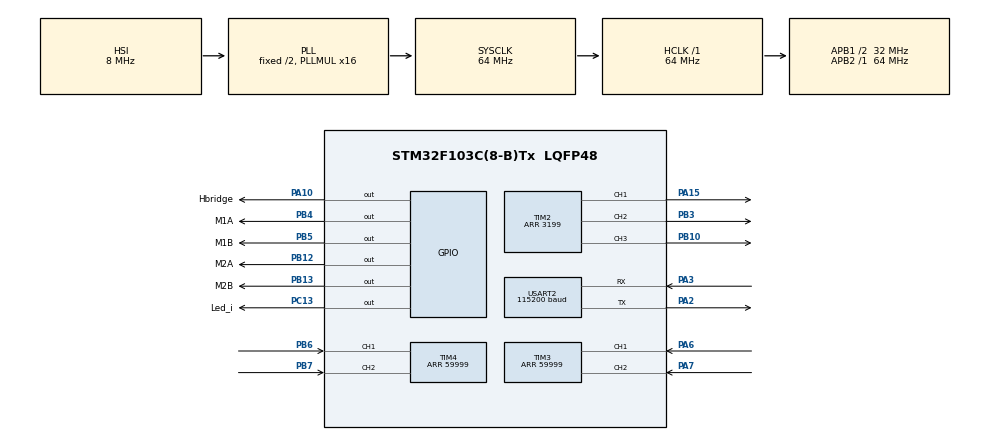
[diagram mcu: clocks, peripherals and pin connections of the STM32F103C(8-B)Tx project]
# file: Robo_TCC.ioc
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Mcu.Family=STM32F1
Mcu.Name=STM32F103C(8-B)Tx
Mcu.Package=LQFP48
NVIC.PriorityGroup=NVIC_PRIORITYGROUP_4
NVIC.TIM2_IRQn=true\:0\:0\:false\:false\:true\:true\:true
NVIC.USART2_IRQn=true\:0\:0\:false\:false\:true\:true\:true
PA10.GPIO_Label=Hbridge
PA10.Signal=GPIO_Output
PA13.Mode=Serial_Wire
PA13.Signal=SYS_JTMS-SWDIO
PA14.Mode=Serial_Wire
PA14.Signal=SYS_JTCK-SWCLK
PA15.Signal=S_TIM2_CH1_ETR
PA2.Mode=Asynchronous
PA2.Signal=USART2_TX
PA3.Mode=Asynchronous
PA3.Signal=USART2_RX
PA6.Signal=S_TIM3_CH1
PA7.Signal=S_TIM3_CH2
PB10.Signal=S_TIM2_CH3
PB12.GPIO_Label=M2A
PB12.Signal=GPIO_Output
PB13.GPIO_Label=M2B
PB13.Signal=GPIO_Output
PB3.Signal=S_TIM2_CH2
PB4.GPIO_Label=M1A
PB4.Signal=GPIO_Output
PB5.GPIO_Label=M1B
PB5.Signal=GPIO_Output
PB6.Signal=S_TIM4_CH1
PB7.Signal=S_TIM4_CH2
PC13-TAMPER-RTC.GPIO_Label=Led_i
PC13-TAMPER-RTC.Signal=GPIO_Output
ProjectManager.HeapSize=0x200
ProjectManager.StackSize=0x400
ProjectManager.TargetToolchain=STM32CubeIDE
RCC.AHBFreq_Value=64000000
RCC.APB1CLKDivider=RCC_HCLK_DIV2
RCC.APB1Freq_Value=32000000
RCC.APB1TimFreq_Value=64000000
RCC.APB2Freq_Value=64000000
RCC.APB2TimFreq_Value=64000000
RCC.HCLKFreq_Value=64000000
RCC.PLLMUL=RCC_PLL_MUL16
RCC.SYSCLKFreq_VALUE=64000000
RCC.SYSCLKSource=RCC_SYSCLKSOURCE_PLLCLK
RCC.USBFreq_Value=64000000
SH.S_TIM2_CH1_ETR.0=TIM2_CH1,PWM Generation1 CH1
SH.S_TIM2_CH2.0=TIM2_CH2,PWM Generation2 CH2
SH.S_TIM2_CH3.0=TIM2_CH3,PWM Generation3 CH3
SH.S_TIM3_CH1.0=TIM3_CH1,Encoder_Interface
SH.S_TIM3_CH2.0=TIM3_CH2,Encoder_Interface
SH.S_TIM4_CH1.0=TIM4_CH1,Encoder_Interface
SH.S_TIM4_CH2.0=TIM4_CH2,Encoder_Interface
TIM2.Channel-PWM\ Generation1\ CH1=TIM_CHANNEL_1
TIM2.Channel-PWM\ Generation2\ CH2=TIM_CHANNEL_2
TIM2.Channel-PWM\ Generation3\ CH3=TIM_CHANNEL_3
TIM2.OC1Preload_PWM=DISABLE
TIM2.OC2Preload_PWM=DISABLE
TIM2.Period=3199
TIM3.Period=59999
TIM4.Period=59999
USART2.BaudRate=115200
USART2.VirtualMode=VM_ASYNC
VP_TIM2_VS_ClockSourceINT.Mode=Internal
board=custom

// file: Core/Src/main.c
/* USER CODE BEGIN Header */
/**
 ******************************************************************************
 * Arquivo           : main.c
 *
 * Descrição         : Código do microcontrolador ARM para os robôs VSSS da
 * 					Equipe Red Dragons UFSCar. Desenvolvido por Matheus
 * 					Sousa Soares em 2020.
 *
 * 					Para contato: matheussousasf@gmail.com ou
 * 								  matheussousa@df.ufscar.br
 * 								  (31) 975340460
 *
 ******************************************************************************
 ******************************************************************************
 *
 * Organizar código com comentários e com um mini interface no começo
 *
 *
 ******************************************************************************
 ******************************************************************************
 * Código desenvolvido na CUBE IDE 1.7.0
 *
 * Lista de funções desempenhadas:
 * Comunicação UART por interrupção com módulo Xbee
 * Leitura e interpretação da mensagem recebida
 * Geração de PWM para motores
 * Leitura dos Encoders
 * Controle da velocidade dos motores com PWM gerado
 * Modo de ajuste do controlador
 *
 * ****************************************************************************
 * Como utilizar:
 *
 * Editar nas partes com "USER CODE" o resto do código é gerado automaticamente
 * pela parte de configuração do microcontrolador na IDE (arquivo .ioc).
 *
 * Organize e comente as suas funções e códigos adequadamente para facilitar
 * para os membros futuros da equipe. Utilize o Git para atualizar o código.
 *
 * Modo de Controle:
 * 	Ativar a variável "medir_vel" = 1
 *
 * 	Para medir a velocidade sem controlador:
 * 		Ativar a variável "desl_controlador" = 1
 * 		Sertar PWM do teste na variável "PWM_test"
 * 		O robô então vai se mover com a tensão nos motores correspondente ao PWM setado
 * 		Depois de medir a velocidade por uma quantidade de pontos igual a "vetor_dados"
 * 		O robô vai parar e enviar os dados pelo módulo de rádio.
 *
 * 	Para medir a velocidade com o controlador:
 * 		Desativar a variável "desl_controlador" = 0
 * 		Setar a velocidade alvo de cada controlador nas variáveis "w_targetM1" e "w_targetM12"
 * 			Essa velocidade está em rad/s
 * 		Depois de medir a velocidade por uma quantidade de pontos igual a "vetor_dados"
 * 		O robô vai parar e enviar os dados pelo módulo de rádio.
 *
 * Modo de jogo:
 * 	Desativar a variável "medir_vel" = 0
 * 	O robô vai aguradar uma menságem para definir o setpoint do controlar
 *
 *		OBS: O tempo de loop do controlador e da medição dos dados foi definido em 10ms por
 *			conta da resolução dos encoders.
 *
 * ***************************************************************************
 * Partes do código
 * USER CODE Header: Comentários de introdução
 * USER CODE Includes: Bibliotecas do usuário
 * USER CODE PV: Vazio
 * USER CODE 0: Declaração de variáveis
 * USER CODE 1: Variáveis da equação de controle e
 * USER CODE SysInit: Vazio
 * USER CODE 2: Inicialização do sistema
 * USER CODE WHILE: Loop de programa
 * USER CODE 3: Vazio
 * USER CODE 4: Funções de interrupção e timers
 *
 * Preencher aqui conforme o código for atualizado, por favor.
 ******************************************************************************
 */
/* USER CODE END Header */
#include "main.h"

/* USER CODE BEGIN Includes */
#include "math.h"
/* USER CODE END Includes */

TIM_HandleTypeDef htim2;
TIM_HandleTypeDef htim3;
TIM_HandleTypeDef htim4;

UART_HandleTypeDef huart2;

void SystemClock_Config(void);
static void MX_GPIO_Init(void);
static void MX_TIM2_Init(void);
static void MX_TIM3_Init(void);
static void MX_TIM4_Init(void);
static void MX_USART2_UART_Init(void);
/* USER CODE BEGIN PFP */

static void controlador(void);
static void medir(void);
static void testPulsos(void);
static void returnMsg(void);
static void speedGet(void);

/* USER CODE END PFP */

/* USER CODE BEGIN 0 */

//Variáveis gerais
static int true = 1;
static int false = 0;
uint16_t delay = 500;

//Variáveis do modo de controle
int vetor_dados = 150;
int PWM_testM1 = 0;
int PWM_testM2 = 0;

double w_targetM1 = 0.0;
double w_targetM2 = 0.0;

int cont_vel = 0;
double velocidadesM1[150]= {};
double velocidadesM2[150]= {};
uint8_t buffer_vel[7] = {'0','0',',','0','0','0','\n'};

int stopMedir = 1;

int retorno = 0;
int testEncoder = 0;
int medir_vel = 0;
int controlar = 1;
int runMode = 1;

//Variáveis de comunicação serial
uint8_t size_msg = 10;
uint8_t tx_buffer[] = {'L','i','g','a','d','o',' ',' ',' ','\n'}; // Msg inicial enviada pelo robô
uint8_t configFlag[] = {'R','0','E','0','M','0','C','1','G','1','\n'};
uint8_t rx_buffer[10]; //Buffer que recebe as mensagens
uint8_t pulsos_motors[19];

// Variáveis de controle dos motores
uint16_t duty_cycle = 0;
int speedM1 = 0;
int speedM2 = 0;
unsigned int pwmM1 = 0;
unsigned int pwmM2 = 0;
int sentidoM1 = 0;
int sentidoM2 = 0;
int const cont_loop = 200;

double w_rodaM1[2] = {};
double w_rodaM2[2] = {};

double acaoM1[2] = {0,0};
double acaoM2[2] = {0,0};
double erroM1[3] = {0,0,0};
double erroM2[3] = {0,0,0};

int pulse_cnt = 3200; // Contagem de pulsos do clock. É a resolução do PWM
int cont_controle = 0;
int contTempo = 0;
int npulsos = 12;
int cppM1[2] ={0,0};
int cppM2[2] = {0,0};
int flag_controle = 0;
int flag_velocidade = 0;

// Valores do controlador
double const K1 = 18; //0.12*3200/8.4; // 18
double const Td1 = 2e-3; // 4e-2;
double const Ti1 = 1e-2; // 8e-4;
double const K2 = 18;
double const Td2 = 2e-3;
double const Ti2 = 1e-2;

double const Tloop = 2.0/(cont_loop);

// Variáveis do controlador
double M1A1 = (1 + (Tloop/Ti1) + (Td1/Tloop));
double M1A2 = (-1 - 2*Td1/Tloop);
double M1A3 = Td1/Tloop;

double M2A1 = (1 + (Tloop/Ti2) + (Td2/Tloop));
double M2A2 = (-1 - 2*Td2/Tloop);
double M2A3 = Td2/Tloop;

double testVel[] = {12.345,67.890,12.345,67.890,12.345,67.890,12.345,67.890,12.345,67.890};

/* USER CODE END 0 */

int main(void)
{
	/* USER CODE BEGIN 1 */

	/*if (medir_vel == false){
		w_targetM1 = 0.0;
		w_targetM2 = 0.0;
	}*/

	/* USER CODE END 1 */

	/* MCU Configuration--------------------------------------------------------*/

	/* Reset of all peripherals, Initializes the Flash interface and the Systick. */
	HAL_Init();

	/* Configure the system clock */
	SystemClock_Config();

	/* Initialize all configured peripherals */
	MX_GPIO_Init();
	MX_TIM2_Init();
	MX_TIM3_Init();
	MX_TIM4_Init();
	MX_USART2_UART_Init();
	/* USER CODE BEGIN 2 */

	HAL_UART_Transmit_IT(&huart2, tx_buffer, size_msg);
	HAL_UART_Transmit_IT(&huart2, configFlag, 11);// envia a msg inicial
	HAL_UART_Receive_IT(&huart2, rx_buffer, size_msg);// Faz com que o robô ligue o receptor de msg
	HAL_TIM_PWM_Start(&htim2, TIM_CHANNEL_2); // Inicia o Timer 2 do PWM
	HAL_TIM_PWM_Start(&htim2, TIM_CHANNEL_1);
	HAL_TIM_Base_Start_IT(&htim2); // Inicia o Timer 2 no modo de interrupção.
	HAL_TIM_Encoder_Start(&htim3, TIM_CHANNEL_ALL); // Inicia o encoder M1
	HAL_TIM_Encoder_Start(&htim4, TIM_CHANNEL_ALL); //Inicia o módulo de leitura do encoder M2
	HAL_GPIO_WritePin(Led_i_GPIO_Port, Led_i_Pin, SET);// Desliga o led da placa de desenvolvimento

	HAL_GPIO_WritePin(M2A_GPIO_Port, M2A_Pin, SET);
	HAL_GPIO_WritePin(M2B_GPIO_Port, M2B_Pin, RESET);
	HAL_GPIO_WritePin(M1A_GPIO_Port, M1A_Pin, SET);
	HAL_GPIO_WritePin(M1B_GPIO_Port, M1B_Pin, RESET);

	HAL_GPIO_WritePin(Hbridge_GPIO_Port,Hbridge_Pin,SET);

	for (int i = 0; i < vetor_dados; i++) {
		velocidadesM1[i] = 0.0;
		velocidadesM2[i] = 0.0;
	}

	/* USER CODE END 2 */

	/* Infinite loop */
	/* USER CODE BEGIN WHILE */

	while (1){

		if (testEncoder == true) testPulsos();
		if(flag_velocidade == true) speedGet();
		if(flag_controle == true){
			if(controlar == true) controlador();
		}

		if (medir_vel == true){

			if(stopMedir == true){
				stopMedir = false;
				__HAL_TIM_SET_COMPARE(&htim2, TIM_CHANNEL_1, 0);
				__HAL_TIM_SET_COMPARE(&htim2, TIM_CHANNEL_2, 0);
				for (int i = 0; i < vetor_dados; i++) {
					velocidadesM1[i] = 0.0;
					velocidadesM2[i] = 0.0;
				}
				HAL_TIM_Base_Stop_IT(&htim2);
				HAL_Delay(1000); // Delay para esperar zerar a velocidade dos motores
				HAL_TIM_Base_Start_IT(&htim2);

			}

			if (cont_vel >= vetor_dados){
				__HAL_TIM_SET_COMPARE(&htim2, TIM_CHANNEL_1, 0);
				__HAL_TIM_SET_COMPARE(&htim2, TIM_CHANNEL_2, 0);
				/*HAL_GPIO_WritePin(M2A_GPIO_Port, M2A_Pin, RESET);
				HAL_GPIO_WritePin(M2B_GPIO_Port, M2B_Pin, RESET);
				HAL_GPIO_WritePin(M1A_GPIO_Port, M1A_Pin, RESET);
				HAL_GPIO_WritePin(M1B_GPIO_Port, M1B_Pin, RESET);*/
				medir();
			}

		}

	}
	/* USER CODE END WHILE */

}

void SystemClock_Config(void)
{
	RCC_OscInitTypeDef RCC_OscInitStruct = {0};
	RCC_ClkInitTypeDef RCC_ClkInitStruct = {0};

	/** Initializes the RCC Oscillators according to the specified parameters
	 * in the RCC_OscInitTypeDef structure.
	 */
	RCC_OscInitStruct.OscillatorType = RCC_OSCILLATORTYPE_HSI;
	RCC_OscInitStruct.HSIState = RCC_HSI_ON;
	RCC_OscInitStruct.HSICalibrationValue = RCC_HSICALIBRATION_DEFAULT;
	RCC_OscInitStruct.PLL.PLLState = RCC_PLL_ON;
	RCC_OscInitStruct.PLL.PLLSource = RCC_PLLSOURCE_HSI_DIV2;
	RCC_OscInitStruct.PLL.PLLMUL = RCC_PLL_MUL16;
	if (HAL_RCC_OscConfig(&RCC_OscInitStruct) != HAL_OK)
	{
		Error_Handler();
	}
	/** Initializes the CPU, AHB and APB buses clocks
	 */
	RCC_ClkInitStruct.ClockType = RCC_CLOCKTYPE_HCLK|RCC_CLOCKTYPE_SYSCLK
			|RCC_CLOCKTYPE_PCLK1|RCC_CLOCKTYPE_PCLK2;
	RCC_ClkInitStruct.SYSCLKSource = RCC_SYSCLKSOURCE_PLLCLK;
	RCC_ClkInitStruct.AHBCLKDivider = RCC_SYSCLK_DIV1;
	RCC_ClkInitStruct.APB1CLKDivider = RCC_HCLK_DIV2;
	RCC_ClkInitStruct.APB2CLKDivider = RCC_HCLK_DIV1;

	if (HAL_RCC_ClockConfig(&RCC_ClkInitStruct, FLASH_LATENCY_2) != HAL_OK)
	{
		Error_Handler();
	}
}

static void MX_TIM2_Init(void)
{

	TIM_ClockConfigTypeDef sClockSourceConfig = {0};
	TIM_MasterConfigTypeDef sMasterConfig = {0};
	TIM_OC_InitTypeDef sConfigOC = {0};

	htim2.Instance = TIM2;
	htim2.Init.Prescaler = 0;
	htim2.Init.CounterMode = TIM_COUNTERMODE_UP;
	htim2.Init.Period = 3199;
	htim2.Init.ClockDivision = TIM_CLOCKDIVISION_DIV1;
	htim2.Init.AutoReloadPreload = TIM_AUTORELOAD_PRELOAD_DISABLE;
	if (HAL_TIM_Base_Init(&htim2) != HAL_OK)
	{
		Error_Handler();
	}
	sClockSourceConfig.ClockSource = TIM_CLOCKSOURCE_INTERNAL;
	if (HAL_TIM_ConfigClockSource(&htim2, &sClockSourceConfig) != HAL_OK)
	{
		Error_Handler();
	}
	if (HAL_TIM_PWM_Init(&htim2) != HAL_OK)
	{
		Error_Handler();
	}
	sMasterConfig.MasterOutputTrigger = TIM_TRGO_RESET;
	sMasterConfig.MasterSlaveMode = TIM_MASTERSLAVEMODE_DISABLE;
	if (HAL_TIMEx_MasterConfigSynchronization(&htim2, &sMasterConfig) != HAL_OK)
	{
		Error_Handler();
	}
	sConfigOC.OCMode = TIM_OCMODE_PWM1;
	sConfigOC.Pulse = 0;
	sConfigOC.OCPolarity = TIM_OCPOLARITY_HIGH;
	sConfigOC.OCFastMode = TIM_OCFAST_DISABLE;
	if (HAL_TIM_PWM_ConfigChannel(&htim2, &sConfigOC, TIM_CHANNEL_1) != HAL_OK)
	{
		Error_Handler();
	}
	__HAL_TIM_DISABLE_OCxPRELOAD(&htim2, TIM_CHANNEL_1);
	if (HAL_TIM_PWM_ConfigChannel(&htim2, &sConfigOC, TIM_CHANNEL_2) != HAL_OK)
	{
		Error_Handler();
	}
	__HAL_TIM_DISABLE_OCxPRELOAD(&htim2, TIM_CHANNEL_2);
	if (HAL_TIM_PWM_ConfigChannel(&htim2, &sConfigOC, TIM_CHANNEL_3) != HAL_OK)
	{
		Error_Handler();
	}
	HAL_TIM_MspPostInit(&htim2);

}

static void MX_TIM3_Init(void)
{

	TIM_Encoder_InitTypeDef sConfig = {0};
	TIM_MasterConfigTypeDef sMasterConfig = {0};

	htim3.Instance = TIM3;
	htim3.Init.Prescaler = 0;
	htim3.Init.CounterMode = TIM_COUNTERMODE_UP;
	htim3.Init.Period = 59999;
	htim3.Init.ClockDivision = TIM_CLOCKDIVISION_DIV1;
	htim3.Init.AutoReloadPreload = TIM_AUTORELOAD_PRELOAD_DISABLE;
	sConfig.EncoderMode = TIM_ENCODERMODE_TI1;
	sConfig.IC1Polarity = TIM_ICPOLARITY_RISING;
	sConfig.IC1Selection = TIM_ICSELECTION_DIRECTTI;
	sConfig.IC1Prescaler = TIM_ICPSC_DIV1;
	sConfig.IC1Filter = 0;
	sConfig.IC2Polarity = TIM_ICPOLARITY_RISING;
	sConfig.IC2Selection = TIM_ICSELECTION_DIRECTTI;
	sConfig.IC2Prescaler = TIM_ICPSC_DIV1;
	sConfig.IC2Filter = 0;
	if (HAL_TIM_Encoder_Init(&htim3, &sConfig) != HAL_OK)
	{
		Error_Handler();
	}
	sMasterConfig.MasterOutputTrigger = TIM_TRGO_RESET;
	sMasterConfig.MasterSlaveMode = TIM_MASTERSLAVEMODE_DISABLE;
	if (HAL_TIMEx_MasterConfigSynchronization(&htim3, &sMasterConfig) != HAL_OK)
	{
		Error_Handler();
	}

}

static void MX_TIM4_Init(void)
{

	TIM_Encoder_InitTypeDef sConfig = {0};
	TIM_MasterConfigTypeDef sMasterConfig = {0};

	htim4.Instance = TIM4;
	htim4.Init.Prescaler = 0;
	htim4.Init.CounterMode = TIM_COUNTERMODE_UP;
	htim4.Init.Period = 59999;
	htim4.Init.ClockDivision = TIM_CLOCKDIVISION_DIV1;
	htim4.Init.AutoReloadPreload = TIM_AUTORELOAD_PRELOAD_DISABLE;
	sConfig.EncoderMode = TIM_ENCODERMODE_TI1;
	sConfig.IC1Polarity = TIM_ICPOLARITY_RISING;
	sConfig.IC1Selection = TIM_ICSELECTION_DIRECTTI;
	sConfig.IC1Prescaler = TIM_ICPSC_DIV1;
	sConfig.IC1Filter = 0;
	sConfig.IC2Polarity = TIM_ICPOLARITY_RISING;
	sConfig.IC2Selection = TIM_ICSELECTION_DIRECTTI;
	sConfig.IC2Prescaler = TIM_ICPSC_DIV1;
	sConfig.IC2Filter = 0;
	if (HAL_TIM_Encoder_Init(&htim4, &sConfig) != HAL_OK)
	{
		Error_Handler();
	}
	sMasterConfig.MasterOutputTrigger = TIM_TRGO_RESET;
	sMasterConfig.MasterSlaveMode = TIM_MASTERSLAVEMODE_DISABLE;
	if (HAL_TIMEx_MasterConfigSynchronization(&htim4, &sMasterConfig) != HAL_OK)
	{
		Error_Handler();
	}

}

static void MX_USART2_UART_Init(void)
{

	huart2.Instance = USART2;
	huart2.Init.BaudRate = 115200;
	huart2.Init.WordLength = UART_WORDLENGTH_8B;
	huart2.Init.StopBits = UART_STOPBITS_1;
	huart2.Init.Parity = UART_PARITY_NONE;
	huart2.Init.Mode = UART_MODE_TX_RX;
	huart2.Init.HwFlowCtl = UART_HWCONTROL_NONE;
	huart2.Init.OverSampling = UART_OVERSAMPLING_16;
	if (HAL_UART_Init(&huart2) != HAL_OK)
	{
		Error_Handler();
	}

}

static void MX_GPIO_Init(void)
{
	GPIO_InitTypeDef GPIO_InitStruct = {0};

	/* GPIO Ports Clock Enable */
	__HAL_RCC_GPIOC_CLK_ENABLE();
	__HAL_RCC_GPIOA_CLK_ENABLE();
	__HAL_RCC_GPIOB_CLK_ENABLE();

	/*Configure GPIO pin Output Level */
	HAL_GPIO_WritePin(Led_i_GPIO_Port, Led_i_Pin, GPIO_PIN_RESET);

	/*Configure GPIO pin Output Level */
	HAL_GPIO_WritePin(GPIOB, M2A_Pin|M2B_Pin|M1A_Pin|M1B_Pin, GPIO_PIN_RESET);

	/*Configure GPIO pin Output Level */
	HAL_GPIO_WritePin(Hbridge_GPIO_Port, Hbridge_Pin, GPIO_PIN_RESET);

	/*Configure GPIO pin : Led_i_Pin */
	GPIO_InitStruct.Pin = Led_i_Pin;
	GPIO_InitStruct.Mode = GPIO_MODE_OUTPUT_PP;
	GPIO_InitStruct.Pull = GPIO_NOPULL;
	GPIO_InitStruct.Speed = GPIO_SPEED_FREQ_LOW;
	HAL_GPIO_Init(Led_i_GPIO_Port, &GPIO_InitStruct);

	/*Configure GPIO pins : M2A_Pin M2B_Pin M1A_Pin M1B_Pin */
	GPIO_InitStruct.Pin = M2A_Pin|M2B_Pin|M1A_Pin|M1B_Pin;
	GPIO_InitStruct.Mode = GPIO_MODE_OUTPUT_PP;
	GPIO_InitStruct.Pull = GPIO_NOPULL;
	GPIO_InitStruct.Speed = GPIO_SPEED_FREQ_LOW;
	HAL_GPIO_Init(GPIOB, &GPIO_InitStruct);

	/*Configure GPIO pin : Hbridge_Pin */
	GPIO_InitStruct.Pin = Hbridge_Pin;
	GPIO_InitStruct.Mode = GPIO_MODE_OUTPUT_PP;
	GPIO_InitStruct.Pull = GPIO_NOPULL;
	GPIO_InitStruct.Speed = GPIO_SPEED_FREQ_LOW;
	HAL_GPIO_Init(Hbridge_GPIO_Port, &GPIO_InitStruct);

}

/* USER CODE BEGIN 4 */

// Função chaamada quando o buffer de recepção está CHEIO
void HAL_UART_RxCpltCallback(UART_HandleTypeDef *huart){

	HAL_GPIO_TogglePin(Led_i_GPIO_Port,Led_i_Pin);

	//####################################################
	if(rx_buffer[0] == 'G'){// Função que inicia o PWM
		HAL_TIM_PWM_Start(&htim2, TIM_CHANNEL_2);
	}

	// Buffers de configuração do funcionamento do robô
	if(rx_buffer[0] == '%'){// Função vira para a direita

		if(rx_buffer[1] == 'R'){// Função vira para a direita
			if (retorno == true){
				retorno = false;
				configFlag[1] = '0';
			}
			else {
				retorno = true;
				configFlag[1] = '1';
			}
		}

		if(rx_buffer[1] == 'E'){// Função vira para a direita
			if (testEncoder == true){
				testEncoder = false;
				configFlag[3] = '0';
			}
			else {
				testEncoder = true;
				configFlag[3] = '1';
			}
		}

		if(rx_buffer[1] == 'M'){// Função vira para a direita
			if (medir_vel == true){
				medir_vel = false;
				configFlag[5] = '0';
			}
			else {
				medir_vel = true;
				configFlag[5] = '1';
				stopMedir = true;
				HAL_GPIO_WritePin(M1A_GPIO_Port, M1A_Pin, SET);
				HAL_GPIO_WritePin(M1B_GPIO_Port, M1B_Pin, RESET);
				HAL_GPIO_WritePin(M2A_GPIO_Port, M2A_Pin, SET);
				HAL_GPIO_WritePin(M2B_GPIO_Port, M2B_Pin, RESET);
				PWM_testM1 = 1000*(rx_buffer[2]-'0') + 100*(rx_buffer[3]-'0') + 10*(rx_buffer[4]-'0') + (rx_buffer[5]-'0');
				PWM_testM2 = 1000*(rx_buffer[6]-'0') + 100*(rx_buffer[7]-'0') + 10*(rx_buffer[8]-'0') + (rx_buffer[9]-'0');
				//if (controlar == true){
					w_targetM1 = PWM_testM1/100.0;
					w_targetM2 = PWM_testM2/100.0;
				//}
			}
		}

		if(rx_buffer[1] == 'C'){// Função vira para a direita
			if (controlar == true){
				controlar = false;
				configFlag[7] = '0';
			}
			else{
				controlar = true;
				configFlag[7] = '1';
			}
		}

		if(rx_buffer[1] == 'G'){// Função vira para a direita
			if (runMode == true){
				runMode = false;
				controlar = false;
				configFlag[9] = '0';
				configFlag[7] = '0';
			}
			else{
				runMode = true;
				controlar = true;
				configFlag[9] = '1';
				configFlag[7] = '1';
			}
		}

		if(rx_buffer[2] == '%'){// Função vira para a direita
			HAL_UART_Transmit_IT(&huart2, configFlag, 11);
		}

	}

	else{
		//####################################################
		// Interpreta a msg e converte em velocidade
		speedM1 = 1000*(rx_buffer[1]-'0') + 100*(rx_buffer[2]-'0') + 10*(rx_buffer[3]-'0') + (rx_buffer[4]-'0');
		// Interpreta a msg e converte em velocidade
		speedM2 = 1000*(rx_buffer[6]-'0') + 100*(rx_buffer[7]-'0') + 10*(rx_buffer[8]-'0') + (rx_buffer[9]-'0');
	}

	if (speedM1 > 2200){
		speedM1 = 2200;
	}
	if(speedM2 > 2200){
		speedM2 = 2200;
	}

	// Define novo alvo para a velocidade

	//w_targetM1 = speedM1/100.0;
	//w_targetM2 = speedM2/100.0;

	//####################################################
	//Parte que lida com o motor 1
	if(rx_buffer[0] == 'F'){// Função vira para a direita

		HAL_GPIO_WritePin(M1A_GPIO_Port, M1A_Pin, SET);
		HAL_GPIO_WritePin(M1B_GPIO_Port, M1B_Pin, RESET);
		//HAL_GPIO_TogglePin(Led_g_GPIO_Port,Led_g_Pin);
	}
	if(rx_buffer[0] == 'T'){// Função vira para a esquerda

		HAL_GPIO_WritePin(M1A_GPIO_Port, M1A_Pin, RESET);
		HAL_GPIO_WritePin(M1B_GPIO_Port, M1B_Pin, SET);
		//HAL_GPIO_TogglePin(Led_y_GPIO_Port,Led_y_Pin);

	}
	if(rx_buffer[0] == 'S'){// Função que par aos motores
		//HAL_TIM_PWM_Stop(&htim2, TIM_CHANNEL_2);
		//HAL_GPIO_TogglePin(Led_r_GPIO_Port,Led_r_Pin);

		//HAL_GPIO_WritePin(M1A_GPIO_Port, M1A_Pin, RESET);
		//HAL_GPIO_WritePin(M1A_GPIO_Port, M1B_Pin, RESET);
		speedM2 = 0;
	}

	//####################################################
	//Parte que lida com o motor 2
	if(rx_buffer[5] == 'F'){// Função vira para a direita

		HAL_GPIO_WritePin(M2A_GPIO_Port, M2A_Pin, SET);
		HAL_GPIO_WritePin(M2B_GPIO_Port, M2B_Pin, RESET);
		//HAL_GPIO_TogglePin(Led_g_GPIO_Port,Led_g_Pin);
	}
	if(rx_buffer[5] == 'T'){// Função vira para a esquerda

		HAL_GPIO_WritePin(M2A_GPIO_Port, M2A_Pin, RESET);
		HAL_GPIO_WritePin(M2B_GPIO_Port, M2B_Pin, SET);
		//HAL_GPIO_TogglePin(Led_y_GPIO_Port,Led_y_Pin);

	}
	if(rx_buffer[5] == 'S'){// Função que par aos motores
		//HAL_TIM_PWM_Stop(&htim2, TIM_CHANNEL_2);
		//HAL_GPIO_TogglePin(Led_r_GPIO_Port,Led_r_Pin);
		HAL_GPIO_WritePin(M2A_GPIO_Port, M2A_Pin, RESET);
		HAL_GPIO_WritePin(M2A_GPIO_Port, M2B_Pin, RESET);
		speedM2 = 0;
	}

	//####################################################

	else{
		__NOP();// Adicionado para fins de Debug portanto não faz nada
	}

	//####################################################
	// Ajusta o valor do duty cycle do PWM atualizando a velocidade do robô
	if(medir_vel == false && runMode == false){
		__HAL_TIM_SET_COMPARE(&htim2, TIM_CHANNEL_1, speedM1);
		__HAL_TIM_SET_COMPARE(&htim2, TIM_CHANNEL_2, speedM2);
	}

	if(medir_vel == false && runMode == true){
		w_targetM1 = speedM1/100.0;
		w_targetM2 = speedM2/100.0;
	}

	if(retorno == 1) returnMsg();

	HAL_UART_Receive_IT(&huart2, rx_buffer, size_msg);// Liga a recepção para a próxima msg

	//HAL_GPIO_TogglePin(Led_r_GPIO_Port,Led_r_Pin);

}

// Função executada depois que a msg é totalmente enviada

void HAL_UART_TxCpltCallback(UART_HandleTypeDef *huart){
	__NOP();

}

void HAL_UART_ErrorCallback(UART_HandleTypeDef *huart){
	HAL_GPIO_TogglePin(Led_i_GPIO_Port, Led_i_Pin);
}

// Mede o tempo para inicio do loop de controle
void HAL_TIM_PeriodElapsedCallback(TIM_HandleTypeDef *htim){

	cont_controle++;
	if (cont_controle == cont_loop){
		//HAL_GPIO_TogglePin(Led_y_GPIO_Port,Led_y_Pin);
		cont_controle = 0;
		flag_controle = true;
		flag_velocidade	= true;
	}
}

// Medição da velocidade -> acontece simuntanea ao controlador
void speedGet(void){

	// Ajusta o valor do duty cycle do PWM atualizando a velocidade do robô
	flag_velocidade = false;

	if(controlar == true){
		if(stopMedir == false && medir_vel == true){
			__HAL_TIM_SET_COMPARE(&htim2, TIM_CHANNEL_1, pwmM1);
			__HAL_TIM_SET_COMPARE(&htim2, TIM_CHANNEL_2, pwmM2);
		}
		if(runMode == true){
			__HAL_TIM_SET_COMPARE(&htim2, TIM_CHANNEL_1, pwmM1);
			__HAL_TIM_SET_COMPARE(&htim2, TIM_CHANNEL_2, pwmM2);
		}
	}
	else{
		if(stopMedir == false && medir_vel == true){
			__HAL_TIM_SET_COMPARE(&htim2, TIM_CHANNEL_1, PWM_testM1);
			__HAL_TIM_SET_COMPARE(&htim2, TIM_CHANNEL_2, PWM_testM2);
		}
	}

	cppM1[0] = TIM3->CNT;
	cppM2[0] = TIM4->CNT;

	// Começa o update

	// Checagem do sentido de rotação das rodas e calculo da velocidade

	if (TIM3->CNT >= cppM1[1]){
		sentidoM1 = 1;
		w_rodaM1[0] = (2*M_PI*(TIM3->CNT-cppM1[1]))/(npulsos);
	}

	if (TIM3->CNT < cppM1[1]) {
		sentidoM1 = 0;
		w_rodaM1[0] = (2*M_PI*(cppM1[1]-TIM3->CNT))/(npulsos);
	}

	if (TIM4->CNT >= cppM2[1]){
		sentidoM2 = 1;
		w_rodaM2[0] = (2*M_PI*(TIM4->CNT-cppM2[1]))/(npulsos);
	}

	if (TIM4->CNT < cppM2[1]){
		sentidoM2 = 0;
		w_rodaM2[0] = (2*M_PI*(cppM2[1]-TIM4->CNT))/(npulsos);
	}

	if (medir_vel == true && cont_vel <= vetor_dados){
		velocidadesM1[cont_vel] = w_rodaM1[0];
		velocidadesM2[cont_vel] = w_rodaM2[0];
		cont_vel ++;
		contTempo ++;
		/*if (contTempo > 150) {
			contTempo = 0;
		}

		uint8_t time[] = {'T','i','m',':','i','a','d','o','!','\n'};
		HAL_UART_Transmit_IT(&huart2, init, 10);*/
	}
	// Filtro para o estouro do encoder
	if (w_rodaM1[0] > 35) w_rodaM1[0] = w_rodaM1[1];
	if (w_rodaM2[0] > 35) w_rodaM2[0] = w_rodaM2[1];

	// Fim do update

	w_rodaM1[1] = w_rodaM1[0];
	w_rodaM2[1] = w_rodaM2[0];

	cppM1[1] = cppM1[0];
	cppM2[1] = cppM2[0];

}

// Controlador
void controlador(void){
	//HAL_GPIO_TogglePin(Led_g_GPIO_Port,Led_g_Pin);
	flag_controle = false;

	acaoM1[0] += K1*(M1A1*erroM1[0] + M1A2*erroM1[1] + M1A3*erroM1[2]);
	acaoM2[0] += K2*(M2A1*erroM2[0] + M2A2*erroM2[1] + M2A3*erroM2[2]);

	pwmM1 = ceil(acaoM1[0]);
	pwmM2 = ceil(acaoM2[0]);

	if (pwmM1 > 2000)	pwmM1 = 2000;
	if (pwmM1 < 0) pwmM1 = 0;
	if (pwmM2 > 2000) pwmM2 = 2000;
	if (pwmM2 < 0) pwmM2 = 0;

	// Atualizando variáveis para o próximo loop de controle
	erroM1[2] = erroM1[1];
	erroM2[2] = erroM2[1];

	erroM1[1] = erroM1[0];
	erroM2[1] = erroM2[0];

	erroM1[0] = w_targetM1 - w_rodaM1[0];
	erroM2[0] = w_targetM2 - w_rodaM2[0];

	acaoM1[1] = acaoM1[0];
	acaoM2[1] = acaoM2[0];
}

// Função para medir curva de velocidade dos motores
void medir(void){

	uint8_t motor1[] = {'M','O','T','O','R','_','1',' ','\n','\n'};
	uint8_t motor2[] = {'\n','M','O','T','O','R','_','2',' ','\n','\n'};

	HAL_UART_Transmit_IT(&huart2, motor1, 10);

	int aux;
	int aux1;

	for(int j = 0; j< vetor_dados; j++ ){
		aux = 0;
		aux1 = floor(velocidadesM1[j]*1000);

		for(int i = 0; i<5; i++ ){
			aux = aux1/pow(10,4-i);
			aux1 = aux1- aux*pow(10,4-i);
			buffer_vel[i] = aux +'0';
		}
		for (int i = 0; i<3; i++ ) {
			buffer_vel[5-i] = buffer_vel[4-i];
		}
		buffer_vel[2] =',';
		buffer_vel[6] = '\n';
		HAL_UART_Transmit_IT(&huart2, buffer_vel, 7);
		HAL_Delay(10);
		w_targetM1 = 0;
		w_targetM2 = 0;
	}

	HAL_Delay(500);
	/*
	buffer_vel[0] = ']';
	for (int i = 1; i<7; i++ ) {
		buffer_vel[i] = '#';
	}
	HAL_UART_Transmit_IT(&huart2, buffer_vel, 7);
	HAL_Delay(500);
	*/

	HAL_UART_Transmit_IT(&huart2, motor2, 11);

	HAL_Delay(500);

	aux = 0;
	aux1 = 0;

	for(int j = 0; j< vetor_dados; j++ ){
		aux = 0;
		aux1 = floor(velocidadesM2[j]*1000);

		for(int i = 0; i<5; i++ ){
			aux = aux1/pow(10,4-i);
			aux1 = aux1- aux*pow(10,4-i);
			buffer_vel[i] = aux +'0';
		}
		for (int i = 0; i<3; i++ ) {
			buffer_vel[5-i] = buffer_vel[4-i];
		}
		buffer_vel[2] =',';
		buffer_vel[6] = '\n';
		HAL_UART_Transmit_IT(&huart2, buffer_vel, 7);
		HAL_Delay(10);
	}
	/*
	buffer_vel[0] = ']';
	for (int i = 1; i<7; i++ ) {
		buffer_vel[i] = '#';
	}
	HAL_UART_Transmit_IT(&huart2, buffer_vel, 7);
	*/
	medir_vel = false;
	configFlag[5] = '0';
	stopMedir = true;
	cont_vel = 0;
}

//enivia o valor dospulsos dos motores para debug
void testPulsos(void){
	//Send pulse cont:
	int M1 = TIM3->CNT;
	int M2 = TIM4->CNT;
	int aux = 0;
	int aux1 = M1;

	pulsos_motors[0] = 'M';
	pulsos_motors[1] = '1';
	pulsos_motors[2] = ':';
	pulsos_motors[8] = 'M';
	pulsos_motors[9] = '2';
	pulsos_motors[10] = ':';
	pulsos_motors[17] = '!';
	pulsos_motors[18] = '\n';

	for(int i = 0; i<5; i++ ){
		aux = aux1/pow(10,4-i);
		aux1 = aux1- aux*pow(10,4-i);
		pulsos_motors[i+3] = aux +'0';
	}

	aux = 0;
	aux1 = M2;

	for(int i = 0; i<5; i++ ){
		aux = aux1/pow(10,4-i);
		aux1 = aux1- aux*pow(10,4-i);
		pulsos_motors[i+11] = aux +'0';
	}

	HAL_UART_Transmit_IT(&huart2, pulsos_motors, 19);
	HAL_Delay(500);

	HAL_GPIO_TogglePin(Led_i_GPIO_Port,Led_i_Pin);
}

void returnMsg(void){
	for(int i = 0; i < size_msg; i++ ){ // Clona e envia a msg recebida
		tx_buffer[i] = rx_buffer[i];
	}
	HAL_UART_Transmit_IT(&huart2, tx_buffer, 10);
}
/* USER CODE END 4 */

void Error_Handler(void)
{
	__disable_irq();
	while (1)
	{
	}
}
